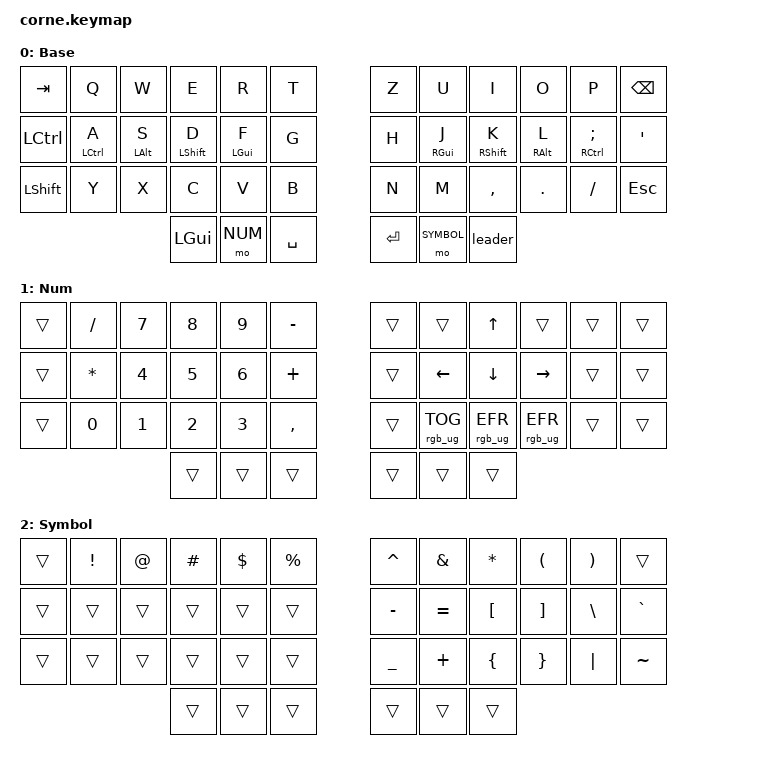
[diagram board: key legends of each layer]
/*
 * Copyright (c) 2020 The ZMK Contributors
 *
 * SPDX-License-Identifier: MIT
 */

#include <behaviors.dtsi>
#include <dt-bindings/zmk/keys.h>
#include <dt-bindings/zmk/bt.h>
#include <dt-bindings/zmk/rgb.h>

// import German locale
#include <locale/keys_de.h>

// import zmk-helpers and set Host OS to MacOS
#define HOST_OS 2
#include "zmk-helpers/helper.h"
#include "zmk-helpers/key-labels/42.h"
#include "zmk-helpers/unicode-chars/german.dtsi"
#include "zmk-helpers/unicode-chars/currency.dtsi"

#include "nice_view_adapter.dtsi"
#include "corne_led_strip.dtsi"
#include "leader.dtsi"

#define DEF 0
#define NUM 1
#define SYMBOL 2
#define GER 3

#define XXX &none
#define ___ &trans

/* Global settings */
// MARK: Global settings

#define QUICK_TAP_MS 175

/* Homerow mods */
// MARK: Homerow mods

// https://github.com/urob/zmk-config/tree/main#timeless-homerow-mods
#define KEYS_L LT0 LT1 LT2 LT3 LT4 LT5 LM0 LM1 LM2 LM3 LM4 LM5 LB0 LB1 LB2 LB3 LB4 LB5  // left hand
#define KEYS_R RT0 RT1 RT2 RT3 RT4 RT5 RM0 RM1 RM2 RM3 RM4 RM5 RB0 RB1 RB2 RB3 RB4 RB5  // right hand
#define THUMBS LH2 LH1 LH0 RH0 RH1 RH2                                                  // thumbs

#define MAKE_HRM(NAME, HOLD, TAP, TRIGGER_POS)                                 \
  ZMK_HOLD_TAP(NAME, bindings = <HOLD>, <TAP>; flavor = "balanced";            \
               tapping-term-ms = <280>; quick-tap-ms = <QUICK_TAP_MS>;         \
               require-prior-idle-ms = <150>; hold-trigger-on-release;         \
               hold-trigger-key-positions = <TRIGGER_POS>;)

MAKE_HRM(hml, &kp, &kp, KEYS_R THUMBS) // Left-hand HRMs.
MAKE_HRM(hmr, &kp, &kp, KEYS_L THUMBS) // Right-hand HRMs.

/* Keymap */

ZMK_LAYER(Base,
     //╭─────────────┬─────────────┬─────────────┬─────────────┬─────────────┬─────────────╮ ╭─────────────┬─────────────┬─────────────┬─────────────┬─────────────┬─────────────╮
         &kp TAB       &kp Q         &kp W         &kp E         &kp R         &kp T           &kp Z         &kp U         &kp I         &kp O         &kp P         &kp BSPC
     //├─────────────┼─────────────┼─────────────┼─────────────┼─────────────┼─────────────┤ ├─────────────┼─────────────┼─────────────┼─────────────┼─────────────┼─────────────┤
         &kp LCTRL     &hml LCTRL A  &hml LALT S   &hml LSHFT D  &hml LGUI F   &kp G           &kp H         &hml RGUI J   &hml RSHIFT K &hml RALT L   &hml RCTRL SEMI  &kp SQT
     //├─────────────┼─────────────┼─────────────┼─────────────┼─────────────┼─────────────┤ ├─────────────┼─────────────┼─────────────┼─────────────┼─────────────┼─────────────┤
         &kp LSHFT     &kp Y         &kp X         &kp C         &kp V         &kp B           &kp N         &kp M         &kp COMMA     &kp DOT       &kp FSLH      &kp ESC
     //╰─────────────┴─────────────┴─────────────┼─────────────┼─────────────┼─────────────┤ ├─────────────┼─────────────┼─────────────┼─────────────┴─────────────┴─────────────╯
                                                   &kp LGUI      &mo NUM       &kp SPACE       &kp RET       &mo SYMBOL    &leader
     //                                          ╰─────────────┴─────────────┴─────────────╯ ╰─────────────┴─────────────┴─────────────╯
)



ZMK_LAYER(Num,
     //╭─────────────┬─────────────┬─────────────┬─────────────┬─────────────┬─────────────╮ ╭─────────────┬─────────────┬─────────────┬─────────────┬─────────────┬─────────────╮
         ___           &kp FSLH      &kp N7        &kp N8        &kp N9        &kp MINUS       ___           ___           &kp UP        ___           ___           ___
     //├─────────────┼─────────────┼─────────────┼─────────────┼─────────────┼─────────────┤ ├─────────────┼─────────────┼─────────────┼─────────────┼─────────────┼─────────────┤
         ___           &kp ASTRK     &kp N4        &kp N5        &kp N6        &kp PLUS        ___           &kp LEFT      &kp DOWN      &kp RIGHT     ___           ___
     //├─────────────┼─────────────┼─────────────┼─────────────┼─────────────┼─────────────┤ ├─────────────┼─────────────┼─────────────┼─────────────┼─────────────┼─────────────┤
         ___           &kp N0        &kp N1        &kp N2        &kp N3        &kp COMMA       ___           &rgb_ug RGB_TOG &rgb_ug RGB_EFR &rgb_ug RGB_EFR ___     ___
     //╰─────────────┴─────────────┴─────────────┼─────────────┼─────────────┼─────────────┤ ├─────────────┼─────────────┼─────────────┼─────────────┴─────────────┴─────────────╯
                                                   ___           ___           ___             ___           ___           ___
     //                                          ╰─────────────┴─────────────┴─────────────╯ ╰─────────────┴─────────────┴─────────────╯
)

//ZMK_LAYER(Num,
//     //╭─────────────┬─────────────┬─────────────┬─────────────┬─────────────┬─────────────╮ ╭─────────────┬─────────────┬─────────────┬─────────────┬─────────────┬─────────────╮
//         ___           &kp N1        &kp N2        &kp N3        &kp N4        &kp N5          &kp N6        &kp N7        &kp N8        &kp N9        &kp N0        ___
//     //├─────────────┼─────────────┼─────────────┼─────────────┼─────────────┼─────────────┤ ├─────────────┼─────────────┼─────────────┼─────────────┼─────────────┼─────────────┤
//         &bt BT_CLR    &bt BT_SEL 0  &bt BT_SEL 1  &bt BT_SEL 2  &bt BT_SEL 3  &bt BT_SEL 4    &kp LEFT      &kp DOWN      &kp UP        &kp RIGHT     ___           ___
//     //├─────────────┼─────────────┼─────────────┼─────────────┼─────────────┼─────────────┤ ├─────────────┼─────────────┼─────────────┼─────────────┼─────────────┼─────────────┤
//         ___           &rgb_ug RGB_TOG &rgb_ug RGB_EFR &rgb_ug RGB_EFR ___     ___             ___           ___           ___           ___           ___           ___
//     //╰─────────────┴─────────────┴─────────────┼─────────────┼─────────────┼─────────────┤ ├─────────────┼─────────────┼─────────────┼─────────────┴─────────────┴─────────────╯
//                                                   ___           ___           ___             ___           ___           ___
//     //                                          ╰─────────────┴─────────────┴─────────────╯ ╰─────────────┴─────────────┴─────────────╯
//)

// -----------------------------------------------------------------------------------------
// |  TAB |  !  |  @  |  #  |  $  |  %  |   |  ^  |  &  |  *  |  (  |  )  | BSPC |
// | CTRL |     |     |     |     |     |   |  -  |  =  |  [  |  ]  |  \  |  `   |
// | SHFT |     |     |     |     |     |   |  _  |  +  |  {  |  }  | "|" |  ~   |
//                    | GUI |     | SPC |   | ENT |     | ALT |

ZMK_LAYER(Symbol,
     //╭─────────────┬─────────────┬─────────────┬─────────────┬─────────────┬─────────────╮ ╭─────────────┬─────────────┬─────────────┬─────────────┬─────────────┬─────────────╮
         ___           &kp EXCL      &kp AT        &kp HASH      &kp DLLR      &kp PRCNT       &kp CARET     &kp AMPS      &kp ASTRK     &kp LPAR      &kp RPAR      ___
     //├─────────────┼─────────────┼─────────────┼─────────────┼─────────────┼─────────────┤ ├─────────────┼─────────────┼─────────────┼─────────────┼─────────────┼─────────────┤
         ___           ___           ___           ___           ___           ___             &kp MINUS     &kp EQUAL     &kp LBKT      &kp RBKT      &kp BSLH      &kp GRAVE
     //├─────────────┼─────────────┼─────────────┼─────────────┼─────────────┼─────────────┤ ├─────────────┼─────────────┼─────────────┼─────────────┼─────────────┼─────────────┤
         ___           ___           ___           ___           ___           ___             &kp UNDER     &kp PLUS      &kp LBRC      &kp RBRC      &kp PIPE      &kp TILDE
     //╰─────────────┴─────────────┴─────────────┼─────────────┼─────────────┼─────────────┤ ├─────────────┼─────────────┼─────────────┼─────────────┴─────────────┴─────────────╯
                                                   ___           ___           ___             ___           ___           ___
     //                                          ╰─────────────┴─────────────┴─────────────╯ ╰─────────────┴─────────────┴─────────────╯
)

//ZMK_LAYER(German,
//     //╭─────────────┬─────────────┬─────────────┬─────────────┬─────────────┬─────────────╮ ╭─────────────┬─────────────┬─────────────┬─────────────┬─────────────┬─────────────╮
//         ___           XXX           XXX           XXX           XXX           XXX             XXX           XXX           XXX           XXX           XXX           &kp BSPC
//     //├─────────────┼─────────────┼─────────────┼─────────────┼─────────────┼─────────────┤ ├─────────────┼─────────────┼─────────────┼─────────────┼─────────────┼─────────────┤
//         ___           XXX           XXX           XXX           XXX           XXX             XXX           XXX           XXX           XXX           XXX           &kp SQT
//     //├─────────────┼─────────────┼─────────────┼─────────────┼─────────────┼─────────────┤ ├─────────────┼─────────────┼─────────────┼─────────────┼─────────────┼─────────────┤
//         ___           XXX           XXX           XXX           XXX           XXX             XXX           XXX           XXX           XXX           XXX           &kp ESC
//     //╰─────────────┴─────────────┴─────────────┼─────────────┼─────────────┼─────────────┤ ├─────────────┼─────────────┼─────────────┼─────────────┴─────────────┴─────────────╯
//                                                   ___           ___           ___             ___           ___           ___
//     //                                          ╰─────────────┴─────────────┴─────────────╯ ╰─────────────┴─────────────┴─────────────╯
//)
